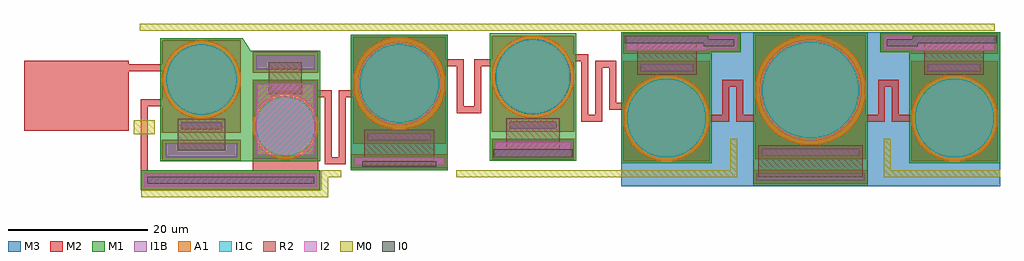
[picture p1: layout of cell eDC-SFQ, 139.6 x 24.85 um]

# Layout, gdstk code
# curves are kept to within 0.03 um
from math import pi, radians
import gdstk
lib = gdstk.Library(unit=1e-6, precision=1e-09)
def R(c, l, rs):  # rectangles x0, y0, x1, y1
    for r in rs: c.add(gdstk.rectangle(r[:2], r[2:], *l))
def P(c, l, *ps):  # polygons
    for p in ps: c.add(gdstk.Polygon(p, *l))
M1 = (1, 0)
I1B = (3, 0)
I1C = (4, 0)
A1 = (5, 0)
M2 = (6, 0)
I2 = (8, 0)
R2 = (9, 0)
M3 = (10, 0)
M0 = (30, 0)
I0 = (31, 0)

jj_5 = lib.new_cell('JJ$5')
R(jj_5, M1, [(-6.939,-12.452,6.939,6.939)])
R(jj_5, I1B, [(-6.39,-11.652,6.39,-10.652), (-4.5,-8.14,4.5,-7.14)])
P(jj_5, I1B, [(0,-5.924),(-1.156,-5.81),(-2.267,-5.473),(-3.291,-4.926),(-4.189,-4.189),(-4.926,-3.291),(-5.473,-2.267),(-5.81,-1.156),(-5.924,0),(-5.81,1.156),(-5.473,2.267),(-4.926,3.291),(-4.189,4.189),(-3.291,4.926),(-2.267,5.473),(-1.156,5.81),(0,5.924),(1.156,5.81),(2.267,5.473),(3.291,4.926),(4.189,4.189),(4.926,3.291),(5.473,2.267),(5.81,1.156),(5.924,0),(5.81,-1.156),(5.473,-2.267),(4.926,-3.291),(4.189,-4.189),(3.291,-4.926),(2.267,-5.473),(1.156,-5.81)])
P(jj_5, I1C, [(0,-5.642),(-1.101,-5.533),(-2.159,-5.212),(-3.134,-4.691),(-3.989,-3.989),(-4.691,-3.134),(-5.212,-2.159),(-5.533,-1.101),(-5.642,0),(-5.533,1.101),(-5.212,2.159),(-4.691,3.134),(-3.989,3.989),(-3.134,4.691),(-2.159,5.212),(-1.101,5.533),(0,5.642),(1.101,5.533),(2.159,5.212),(3.134,4.691),(3.989,3.989),(4.691,3.134),(5.212,2.159),(5.533,1.101),(5.642,0),(5.533,-1.101),(5.212,-2.159),(4.691,-3.134),(3.989,-3.989),(3.134,-4.691),(2.159,-5.212),(1.101,-5.533)])
P(jj_5, A1, [(0,-6.64),(-0.651,-6.608),(-1.295,-6.512),(-1.928,-6.354),(-2.541,-6.135),(-3.13,-5.856),(-3.689,-5.521),(-4.212,-5.133),(-4.695,-4.695),(-5.133,-4.212),(-5.521,-3.689),(-5.856,-3.13),(-6.135,-2.541),(-6.354,-1.927),(-6.512,-1.295),(-6.608,-0.651),(-6.64,0),(-6.608,0.651),(-6.512,1.295),(-6.354,1.928),(-6.135,2.541),(-5.856,3.13),(-5.521,3.689),(-5.133,4.212),(-4.695,4.695),(-4.212,5.133),(-3.689,5.521),(-3.13,5.856),(-2.541,6.135),(-1.927,6.354),(-1.295,6.512),(-0.651,6.608),(0,6.64),(0.651,6.608),(1.295,6.512),(1.927,6.354),(2.541,6.135),(3.13,5.856),(3.689,5.521),(4.212,5.133),(4.695,4.695),(5.133,4.212),(5.521,3.689),(5.856,3.13),(6.135,2.541),(6.354,1.927),(6.512,1.295),(6.608,0.651),(6.64,0),(6.608,-0.651),(6.512,-1.295),(6.354,-1.928),(6.135,-2.541),(5.856,-3.13),(5.521,-3.689),(5.133,-4.212),(4.695,-4.695),(4.212,-5.133),(3.689,-5.521),(3.13,-5.856),(2.541,-6.135),(1.927,-6.354),(1.295,-6.512),(0.651,-6.608)])
R(jj_5, M2, [(-6.89,-12.152,6.89,-10.152), (-6.639,-8.64,6.639,-6.639), (-6.639,-6.639,6.639,6.639)])
R(jj_5, I2, [(-6.39,-11.652,6.39,-10.652)])
R(jj_5, M3, [(-6.939,-12.452,6.939,6.939), (-6.89,-12.152,6.89,-10.152)])
R(jj_5, I0, [(-5.3,-11.952,5.3,-11.152)])
jj_5.add(gdstk.FlexPath([(0,-6.639),(0,-11.152)], 10, ends="flush", simple_path=True, layer=9, datatype=0))  # R2

c_jj = lib.new_cell('JJ')
R(c_jj, M1, [(-8.21,-13.722,8.21,8.21)])
R(c_jj, I1B, [(-7.66,-12.922,7.66,-11.922), (-7,-9.41,7,-8.41)])
P(c_jj, I1B, [(0,-7.255),(-0.711,-7.22),(-1.415,-7.116),(-2.106,-6.943),(-2.777,-6.703),(-3.42,-6.399),(-4.031,-6.033),(-4.603,-5.608),(-5.13,-5.13),(-5.608,-4.603),(-6.033,-4.031),(-6.399,-3.42),(-6.703,-2.776),(-6.943,-2.106),(-7.116,-1.415),(-7.22,-0.711),(-7.255,0),(-7.22,0.711),(-7.116,1.415),(-6.943,2.106),(-6.703,2.777),(-6.399,3.42),(-6.033,4.031),(-5.608,4.603),(-5.13,5.13),(-4.603,5.608),(-4.031,6.033),(-3.42,6.399),(-2.777,6.703),(-2.106,6.943),(-1.415,7.116),(-0.711,7.22),(0,7.255),(0.711,7.22),(1.415,7.116),(2.106,6.943),(2.777,6.703),(3.42,6.399),(4.031,6.033),(4.603,5.608),(5.13,5.13),(5.608,4.603),(6.033,4.031),(6.399,3.42),(6.703,2.777),(6.943,2.106),(7.116,1.415),(7.22,0.711),(7.255,0),(7.22,-0.711),(7.116,-1.415),(6.943,-2.106),(6.703,-2.777),(6.399,-3.42),(6.033,-4.031),(5.608,-4.603),(5.13,-5.13),(4.603,-5.609),(4.031,-6.033),(3.42,-6.399),(2.776,-6.703),(2.106,-6.943),(1.415,-7.116),(0.711,-7.22)])
P(c_jj, I1C, [(0,-6.91),(-0.677,-6.877),(-1.348,-6.777),(-2.006,-6.612),(-2.644,-6.384),(-3.257,-6.094),(-3.839,-5.745),(-4.384,-5.341),(-4.886,-4.886),(-5.341,-4.384),(-5.745,-3.839),(-6.094,-3.257),(-6.384,-2.644),(-6.612,-2.006),(-6.777,-1.348),(-6.877,-0.677),(-6.91,0),(-6.877,0.677),(-6.777,1.348),(-6.612,2.006),(-6.384,2.644),(-6.094,3.257),(-5.745,3.839),(-5.341,4.384),(-4.886,4.886),(-4.384,5.341),(-3.839,5.745),(-3.257,6.094),(-2.644,6.384),(-2.006,6.612),(-1.348,6.777),(-0.677,6.877),(0,6.91),(0.677,6.877),(1.348,6.777),(2.006,6.612),(2.644,6.384),(3.257,6.094),(3.839,5.745),(4.384,5.341),(4.886,4.886),(5.341,4.384),(5.745,3.839),(6.094,3.257),(6.384,2.644),(6.612,2.006),(6.777,1.348),(6.877,0.677),(6.91,0),(6.877,-0.677),(6.777,-1.348),(6.612,-2.006),(6.384,-2.644),(6.094,-3.257),(5.745,-3.839),(5.341,-4.384),(4.886,-4.886),(4.384,-5.341),(3.839,-5.745),(3.257,-6.094),(2.644,-6.384),(2.006,-6.612),(1.348,-6.777),(0.677,-6.877)])
P(c_jj, A1, [(0,-7.91),(-0.775,-7.872),(-1.543,-7.758),(-2.296,-7.569),(-3.027,-7.308),(-3.729,-6.976),(-4.395,-6.577),(-5.018,-6.114),(-5.593,-5.593),(-6.115,-5.018),(-6.577,-4.395),(-6.976,-3.729),(-7.308,-3.027),(-7.569,-2.296),(-7.758,-1.543),(-7.872,-0.775),(-7.91,0),(-7.872,0.775),(-7.758,1.543),(-7.569,2.296),(-7.308,3.027),(-6.976,3.729),(-6.577,4.395),(-6.115,5.018),(-5.593,5.593),(-5.018,6.115),(-4.395,6.577),(-3.729,6.976),(-3.027,7.308),(-2.296,7.569),(-1.543,7.758),(-0.775,7.872),(0,7.91),(0.775,7.872),(1.543,7.758),(2.296,7.569),(3.027,7.308),(3.729,6.976),(4.395,6.577),(5.018,6.115),(5.593,5.593),(6.115,5.018),(6.577,4.395),(6.976,3.729),(7.308,3.027),(7.569,2.296),(7.758,1.543),(7.872,0.775),(7.91,0),(7.872,-0.775),(7.758,-1.543),(7.569,-2.296),(7.308,-3.027),(6.976,-3.729),(6.577,-4.395),(6.114,-5.018),(5.593,-5.593),(5.018,-6.115),(4.395,-6.577),(3.729,-6.976),(3.027,-7.308),(2.296,-7.569),(1.543,-7.758),(0.775,-7.872)])
R(c_jj, M2, [(-8.16,-13.422,8.16,-11.422), (-7.91,-9.91,7.91,-7.91), (-7.91,-7.91,7.91,7.91)])
R(c_jj, M3, [(-8.21,-13.722,8.21,8.21)])
c_jj.add(gdstk.FlexPath([(0,-7.91),(0,-12.422)], 15, ends="flush", simple_path=True, layer=9, datatype=0))  # R2

ak_qc1p2j000 = lib.new_cell('ak_qc1p2j000')
P(ak_qc1p2j000, I1B, [(0,-5.6),(-0.585,-5.569),(-1.164,-5.478),(-2.188,-5.155),(-3.131,-4.643),(-3.96,-3.96),(-4.643,-3.131),(-5.155,-2.188),(-5.478,-1.164),(-5.569,-0.585),(-5.6,0),(-5.569,0.585),(-5.478,1.164),(-5.155,2.188),(-4.643,3.131),(-3.96,3.96),(-3.131,4.643),(-2.188,5.155),(-1.164,5.478),(-0.585,5.569),(0,5.6),(0.585,5.569),(1.164,5.478),(2.188,5.155),(3.131,4.643),(3.96,3.96),(4.643,3.131),(5.155,2.188),(5.478,1.164),(5.569,0.585),(5.6,0),(5.569,-0.585),(5.478,-1.164),(5.155,-2.188),(4.643,-3.131),(3.96,-3.96),(3.131,-4.643),(2.188,-5.155),(1.164,-5.478),(0.585,-5.569)])
P(ak_qc1p2j000, I1C, [(0,-5.642),(-1.077,-5.538),(-2.113,-5.231),(-3.073,-4.732),(-3.551,-4.385),(-3.989,-3.989),(-4.385,-3.551),(-4.732,-3.073),(-5.231,-2.113),(-5.538,-1.077),(-5.642,0),(-5.538,1.077),(-5.231,2.113),(-4.732,3.073),(-4.385,3.551),(-3.989,3.989),(-3.551,4.385),(-3.073,4.732),(-2.113,5.231),(-1.077,5.538),(0,5.642),(1.077,5.538),(2.113,5.231),(3.073,4.732),(3.551,4.385),(3.989,3.989),(4.385,3.551),(4.732,3.073),(5.231,2.113),(5.538,1.077),(5.642,0),(5.538,-1.077),(5.231,-2.113),(4.732,-3.073),(4.385,-3.551),(3.989,-3.989),(3.551,-4.385),(3.073,-4.732),(2.113,-5.231),(1.077,-5.538)])
P(ak_qc1p2j000, A1, [(0,-6.2),(-1.183,-6.086),(-2.323,-5.749),(-3.377,-5.2),(-3.902,-4.818),(-4.384,-4.384),(-4.818,-3.902),(-5.2,-3.377),(-5.749,-2.323),(-6.086,-1.183),(-6.2,0),(-6.086,1.183),(-5.749,2.323),(-5.2,3.377),(-4.818,3.902),(-4.384,4.384),(-3.902,4.818),(-3.377,5.2),(-2.323,5.749),(-1.183,6.086),(0,6.2),(1.183,6.086),(2.323,5.749),(3.377,5.2),(3.902,4.818),(4.384,4.384),(4.818,3.902),(5.2,3.377),(5.749,2.323),(6.086,1.183),(6.2,0),(6.086,-1.183),(5.749,-2.323),(5.2,-3.377),(4.818,-3.902),(4.384,-4.384),(3.902,-4.818),(3.377,-5.2),(2.323,-5.749),(1.183,-6.086)])

ak_qc10r24 = lib.new_cell('ak_qc10r24')
R(ak_qc10r24, I1B, [(-4.1,-5.5,4.2,-3.5), (-3.7,-1.5,3.8,-0.5)])
R(ak_qc10r24, M2, [(-4.6,-6,4.7,-3), (-4.6,-2,4.7,0)])
R(ak_qc10r24, R2, [(-4.2,-4.5,4.3,0)])

ak_qc1p2j000s = lib.new_cell('ak_qc1p2j000s')
R(ak_qc1p2j000s, M1, [(-6.5,-12.3,6.5,6.5)])
R(ak_qc1p2j000s, I1B, [(-5.7,-11.7,5.7,-9.7)])
R(ak_qc1p2j000s, M2, [(-6.2,-12.2,6.2,-9.2), (-6.2,-8.2,6.2,6.2)])
ak_qc1p2j000s.add(gdstk.Reference(ak_qc1p2j000, (0,0)))
ak_qc1p2j000s.add(gdstk.Reference(ak_qc10r24, (0,-6.2)))

ak_qc1p2j000sgd = lib.new_cell('ak_qc1p2j000sgd')
R(ak_qc1p2j000sgd, I2, [(-5.7,-11.7,5.7,-9.7)])
R(ak_qc1p2j000sgd, M3, [(-6.2,-12.2,6.2,-9.2)])
R(ak_qc1p2j000sgd, I0, [(-6,-11.8,6,-10.7)])
ak_qc1p2j000sgd.add(gdstk.Reference(ak_qc1p2j000s, (0,0)))

meanderinductor = lib.new_cell('MeanderInductor')
meanderinductor.add(gdstk.FlexPath([(-3.25,0),(-1,0),(-1,4.974),(1,4.974),(1,0),(3.25,0)], 1, ends="flush", simple_path=True, layer=6, datatype=0))  # M2

ejtl = lib.new_cell('eJTL')
R(ejtl, M3, [(-27.1,-10.75,27.1,11.3)])
ejtl.add(gdstk.FlexPath([(-15.5,9.8),(-10.7,9.8)], 1.4, ends="flush", simple_path=True, layer=3, datatype=0))  # I1B
ejtl.add(gdstk.FlexPath([(15.5,9.8),(10.7,9.8)], 1.4, ends="flush", simple_path=True, layer=3, datatype=0))  # I1B
ejtl.add(gdstk.FlexPath([(-16.2,9.8),(-10,9.8)], 2.8, ends="flush", simple_path=True, layer=6, datatype=0))  # M2
ejtl.add(gdstk.FlexPath([(16.2,9.8),(10,9.8)], 2.8, ends="flush", simple_path=True, layer=6, datatype=0))  # M2
ejtl.add(gdstk.FlexPath([(-16.2,9.8),(-10,9.8)], 2.8, ends="flush", simple_path=True, layer=1, datatype=0))  # M1
ejtl.add(gdstk.FlexPath([(16.2,9.8),(10,9.8)], 2.8, ends="flush", simple_path=True, layer=1, datatype=0))  # M1
ejtl.add(gdstk.FlexPath([(-15.7,9.9),(-9.5,9.9)], 2.8, ends="flush", simple_path=True, layer=10, datatype=0))  # M3
ejtl.add(gdstk.FlexPath([(15.7,9.9),(9.5,9.9)], 2.8, ends="flush", simple_path=True, layer=10, datatype=0))  # M3
ejtl.add(gdstk.FlexPath([(-15.3,9.8),(-10.9,9.8)], 1, ends="flush", simple_path=True, layer=31, datatype=0))  # I0
ejtl.add(gdstk.FlexPath([(15.3,9.8),(10.9,9.8)], 1, ends="flush", simple_path=True, layer=31, datatype=0))  # I0
ejtl.add(gdstk.FlexPath([(-15.7,9.8),(-10.5,9.8)], 1.8, ends="flush", simple_path=True, layer=8, datatype=0))  # I2
ejtl.add(gdstk.FlexPath([(15.7,9.8),(10.5,9.8)], 1.8, ends="flush", simple_path=True, layer=8, datatype=0))  # I2
ejtl.add(gdstk.FlexPath([(-11,-4),(-11,-9),(-27.1,-9)], 1, ends="flush", simple_path=True, layer=30, datatype=0))  # M0
ejtl.add(gdstk.FlexPath([(11,-4),(11,-9),(27.1,-9)], 1, ends="flush", simple_path=True, layer=30, datatype=0))  # M0
ejtl.add(gdstk.Reference(c_jj, (0,3)))
ejtl.add(gdstk.Reference(ak_qc1p2j000sgd, (-20.6,-1), x_reflection=True))
ejtl.add(gdstk.Reference(ak_qc1p2j000sgd, (20.6,-1), rotation=pi))
ejtl.add(gdstk.Reference(meanderinductor, (-11.15,-1)))
ejtl.add(gdstk.Reference(meanderinductor, (11.15,-1)))

meanderinductor_1 = lib.new_cell('MeanderInductor$1')
meanderinductor_1.add(gdstk.FlexPath([(-2.5,0),(-1,0),(-1,9.562),(1,9.562),(1,0),(2.5,0)], 1, ends="flush", simple_path=True, layer=6, datatype=0))  # M2

ak_qc1p0r265 = lib.new_cell('ak_qc1p0r265')
R(ak_qc1p0r265, I1B, [(-3.7,-5.5,3.7,-3.5), (-3.3,-1.5,3.3,-0.5)])
R(ak_qc1p0r265, M2, [(-4.2,-6,4.2,-3), (-4.2,-2,4.2,0)])
R(ak_qc1p0r265, R2, [(-3.8,-4.5,3.8,0)])

ak_qc1p1j800 = lib.new_cell('ak_qc1p1j800')
P(ak_qc1p1j800, I1B, [(0,-5.4),(-1.03,-5.301),(-2.11,-4.971),(-3.02,-4.477),(-3.818,-3.818),(-4.477,-3.02),(-4.971,-2.11),(-5.301,-1.03),(-5.4,0),(-5.301,1.03),(-4.971,2.11),(-4.477,3.02),(-3.818,3.818),(-3.02,4.477),(-2.11,4.971),(-1.03,5.301),(0,5.4),(1.03,5.301),(2.11,4.971),(3.02,4.477),(3.818,3.818),(4.477,3.02),(4.971,2.11),(5.301,1.03),(5.4,0),(5.301,-1.03),(4.971,-2.11),(4.477,-3.02),(3.818,-3.818),(3.02,-4.477),(2.11,-4.971),(1.03,-5.301)])
P(ak_qc1p1j800, I1C, [(-0.093,-5.352),(-1.204,-5.215),(-2.177,-4.89),(-3.07,-4.384),(-3.85,-3.718),(-4.489,-2.915),(-4.963,-2.005),(-5.254,-1.021),(-5.352,0.093),(-5.215,1.204),(-4.89,2.177),(-4.384,3.07),(-3.718,3.85),(-2.915,4.489),(-2.005,4.963),(-1.021,5.254),(0.093,5.352),(1.204,5.215),(2.177,4.89),(3.07,4.384),(3.85,3.718),(4.489,2.915),(4.963,2.005),(5.254,1.021),(5.352,-0.093),(5.215,-1.204),(4.89,-2.177),(4.384,-3.07),(3.718,-3.85),(2.915,-4.489),(2.005,-4.963),(1.021,-5.254)])
P(ak_qc1p1j800, A1, [(0,-5.9),(-1.126,-5.792),(-1.725,-5.642),(-2.305,-5.431),(-3.299,-4.891),(-4.172,-4.172),(-4.891,-3.299),(-5.431,-2.305),(-5.642,-1.725),(-5.792,-1.126),(-5.9,0),(-5.792,1.126),(-5.642,1.725),(-5.431,2.305),(-4.891,3.299),(-4.172,4.172),(-3.299,4.891),(-2.305,5.431),(-1.725,5.642),(-1.126,5.792),(0,5.9),(1.126,5.792),(1.725,5.642),(2.305,5.431),(3.299,4.891),(4.172,4.172),(4.891,3.299),(5.431,2.305),(5.642,1.725),(5.792,1.126),(5.9,0),(5.792,-1.126),(5.642,-1.725),(5.431,-2.305),(4.891,-3.299),(4.172,-4.172),(3.299,-4.891),(2.305,-5.431),(1.725,-5.642),(1.126,-5.792)])

ak_qc1p1j800s = lib.new_cell('ak_qc1p1j800s')
R(ak_qc1p1j800s, M1, [(-6.2,-12,6.2,6.2)])
R(ak_qc1p1j800s, I1B, [(-5.4,-11.4,5.4,-9.4)])
R(ak_qc1p1j800s, M2, [(-5.9,-11.9,5.9,-8.9), (-5.9,-7.9,5.9,5.9)])
ak_qc1p1j800s.add(gdstk.Reference(ak_qc1p0r265, (0,-5.9)))
ak_qc1p1j800s.add(gdstk.Reference(ak_qc1p1j800, (0,0)))

ak_qc1p1j800sgd = lib.new_cell('ak_qc1p1j800sgd')
R(ak_qc1p1j800sgd, I2, [(-5.4,-11.4,5.4,-9.4)])
R(ak_qc1p1j800sgd, M3, [(-5.9,-11.9,5.9,-8.9)])
R(ak_qc1p1j800sgd, I0, [(-5.7,-11.5,5.7,-10.4)])
ak_qc1p1j800sgd.add(gdstk.Reference(ak_qc1p1j800s, (0,0)))

ak_qc1p0r433 = lib.new_cell('ak_qc1p0r433')
R(ak_qc1p0r433, I1B, [(-2.2,-5.5,2.3,-3.5), (-1.8,-1.5,1.9,-0.5)])
R(ak_qc1p0r433, M2, [(-2.7,-6,2.8,-3), (-2.7,-2,2.8,0)])
R(ak_qc1p0r433, R2, [(-2.3,-4.5,2.4,0)])

ak_qc1p1j100 = lib.new_cell('ak_qc1p1j100')
P(ak_qc1p1j100, I1B, [(0,-4.2),(-0.801,-4.123),(-1.641,-3.866),(-2.349,-3.482),(-2.97,-2.97),(-3.482,-2.349),(-3.866,-1.641),(-4.123,-0.801),(-4.2,0),(-4.123,0.801),(-3.866,1.641),(-3.482,2.349),(-2.97,2.97),(-2.349,3.482),(-1.641,3.866),(-0.801,4.123),(0,4.2),(0.801,4.123),(1.641,3.866),(2.349,3.482),(2.97,2.97),(3.482,2.349),(3.866,1.641),(4.123,0.801),(4.2,0),(4.123,-0.801),(3.866,-1.641),(3.482,-2.349),(2.97,-2.97),(2.349,-3.482),(1.641,-3.866),(0.801,-4.123)])
P(ak_qc1p1j100, I1C, [(-0.073,-4.184),(-0.87,-4.093),(-1.635,-3.852),(-2.34,-3.469),(-3.01,-2.907),(-3.509,-2.279),(-3.906,-1.499),(-4.121,-0.727),(-4.184,0.073),(-4.093,0.87),(-3.852,1.635),(-3.469,2.34),(-2.907,3.01),(-2.279,3.509),(-1.499,3.906),(-0.727,4.121),(0.073,4.184),(0.87,4.093),(1.635,3.852),(2.34,3.469),(3.01,2.907),(3.509,2.279),(3.906,1.499),(4.121,0.727),(4.184,-0.073),(4.093,-0.87),(3.852,-1.635),(3.469,-2.34),(2.907,-3.01),(2.279,-3.509),(1.499,-3.906),(0.727,-4.121)])
P(ak_qc1p1j100, A1, [(0,-4.7),(-0.897,-4.614),(-1.761,-4.358),(-2.56,-3.942),(-3.265,-3.381),(-3.85,-2.696),(-4.294,-1.912),(-4.614,-0.897),(-4.7,0),(-4.614,0.897),(-4.358,1.761),(-3.942,2.56),(-3.381,3.265),(-2.696,3.85),(-1.912,4.294),(-0.897,4.614),(0,4.7),(0.897,4.614),(1.761,4.358),(2.56,3.942),(3.265,3.381),(3.85,2.696),(4.294,1.912),(4.614,0.897),(4.7,0),(4.614,-0.897),(4.358,-1.761),(3.942,-2.56),(3.381,-3.265),(2.696,-3.85),(1.912,-4.294),(0.897,-4.614)])

ak_qc1p1j100s = lib.new_cell('ak_qc1p1j100s')
R(ak_qc1p1j100s, M1, [(-5,-10.8,5,5)])
R(ak_qc1p1j100s, I1B, [(-4.2,-10.2,4.2,-8.2)])
R(ak_qc1p1j100s, M2, [(-4.7,-10.7,4.7,-7.7), (-4.7,-6.7,4.7,4.7)])
ak_qc1p1j100s.add(gdstk.Reference(ak_qc1p0r433, (0,-4.7)))
ak_qc1p1j100s.add(gdstk.Reference(ak_qc1p1j100, (0,0)))

ak_qc1p1j100sgu = lib.new_cell('ak_qc1p1j100sgu')
R(ak_qc1p1j100sgu, I2, [(-4.2,-6.2,4.2,4.2)])
R(ak_qc1p1j100sgu, M3, [(-4.7,-6.7,4.7,4.7)])
ak_qc1p1j100sgu.add(gdstk.Reference(ak_qc1p1j100s, (0,0)))

ak_qc1p0r298 = lib.new_cell('ak_qc1p0r298')
R(ak_qc1p0r298, I1B, [(-3.3,-5.5,3.3,-3.5), (-2.9,-1.5,2.9,-0.5)])
R(ak_qc1p0r298, M2, [(-3.8,-6,3.8,-3), (-3.8,-2,3.8,0)])
R(ak_qc1p0r298, R2, [(-3.4,-4.5,3.4,0)])

ak_qc1p1j600 = lib.new_cell('ak_qc1p1j600')
P(ak_qc1p1j600, I1B, [(0,-5),(-1.04,-4.891),(-1.954,-4.603),(-2.796,-4.145),(-3.536,-3.536),(-4.145,-2.796),(-4.603,-1.954),(-4.891,-1.04),(-5,0),(-4.891,1.04),(-4.603,1.954),(-4.145,2.796),(-3.536,3.536),(-2.796,4.145),(-1.954,4.603),(-1.04,4.891),(0,5),(1.04,4.891),(1.954,4.603),(2.796,4.145),(3.536,3.536),(4.145,2.796),(4.603,1.954),(4.891,1.04),(5,0),(4.891,-1.04),(4.603,-1.954),(4.145,-2.796),(3.536,-3.536),(2.796,-4.145),(1.954,-4.603),(1.04,-4.891)])
P(ak_qc1p1j600, I1C, [(0,-5.046),(-0.963,-4.954),(-1.89,-4.679),(-2.822,-4.184),(-3.568,-3.568),(-4.184,-2.822),(-4.679,-1.89),(-4.954,-0.963),(-5.046,0),(-4.954,0.963),(-4.679,1.89),(-4.184,2.822),(-3.568,3.568),(-2.822,4.184),(-1.89,4.679),(-0.963,4.954),(0,5.046),(0.963,4.954),(1.89,4.679),(2.822,4.184),(3.568,3.568),(4.184,2.822),(4.679,1.89),(4.954,0.963),(5.046,0),(4.954,-0.963),(4.679,-1.89),(4.184,-2.822),(3.568,-3.568),(2.822,-4.184),(1.89,-4.679),(0.963,-4.954)])
P(ak_qc1p1j600, A1, [(0,-5.6),(-0.585,-5.569),(-1.164,-5.478),(-2.188,-5.155),(-3.131,-4.643),(-3.96,-3.96),(-4.643,-3.131),(-5.155,-2.188),(-5.478,-1.164),(-5.569,-0.585),(-5.6,0),(-5.569,0.585),(-5.478,1.164),(-5.155,2.188),(-4.643,3.131),(-3.96,3.96),(-3.131,4.643),(-2.188,5.155),(-1.164,5.478),(-0.585,5.569),(0,5.6),(0.585,5.569),(1.164,5.478),(2.188,5.155),(3.131,4.643),(3.96,3.96),(4.643,3.131),(5.155,2.188),(5.478,1.164),(5.569,0.585),(5.6,0),(5.569,-0.585),(5.478,-1.164),(5.155,-2.188),(4.643,-3.131),(3.96,-3.96),(3.131,-4.643),(2.188,-5.155),(1.164,-5.478),(0.585,-5.569)])

ak_qc1p1j600s = lib.new_cell('ak_qc1p1j600s')
R(ak_qc1p1j600s, M1, [(-5.9,-11.7,5.9,5.9)])
R(ak_qc1p1j600s, I1B, [(-5.1,-11.1,5.1,-9.1)])
R(ak_qc1p1j600s, M2, [(-5.6,-11.6,5.6,-8.6), (-5.6,-7.6,5.6,5.6)])
ak_qc1p1j600s.add(gdstk.Reference(ak_qc1p0r298, (0,-5.6)))
ak_qc1p1j600s.add(gdstk.Reference(ak_qc1p1j600, (0,0)))

edc_sfq = lib.new_cell('eDC-SFQ')
P(edc_sfq, M1, [(-35.5,-7.2),(-35.5,10.4),(-34.4,8.6),(-34.4,-7.2)])
R(edc_sfq, M2, [(-34.1,-8.5,-24.7,-6.9), (-38.8,-6.8,-35.8,-5), (-66.8,-2.8,-51.8,7.2)])
R(edc_sfq, M0, [(-51.1,-3.3,-48.1,-1.3)])
edc_sfq.add(gdstk.FlexPath([(-49.4,-9.9),(-25.1,-9.9)], 1.4, ends="flush", simple_path=True, layer=3, datatype=0))  # I1B
edc_sfq.add(gdstk.FlexPath([(-6.5,6.9),(-4.4,6.9),(-4.4,0.2),(-1.9,0.2),(-1.9,6.9),(0.1,6.9)], 1, ends="flush", simple_path=True, layer=6, datatype=0))  # M2
edc_sfq.add(gdstk.FlexPath([(11.9,7.6),(13.4,7.6),(13.4,-1),(15.4,-1),(15.4,6.7),(17.4,6.7),(17.4,0.7),(18.9,0.7)], 1, ends="flush", simple_path=True, layer=6, datatype=0))  # M2
edc_sfq.add(gdstk.FlexPath([(-50.1,-9.9),(-24.4,-9.9)], 2.8, ends="flush", simple_path=True, layer=6, datatype=0))  # M2
edc_sfq.add(gdstk.FlexPath([(-51.8,6.2),(-47,6.2)], 1, ends="flush", simple_path=True, layer=6, datatype=0))  # M2
edc_sfq.add(gdstk.FlexPath([(-47,1.2),(-49.6,1.2),(-49.6,-8.5)], 1, ends="flush", simple_path=True, layer=6, datatype=0))  # M2
edc_sfq.add(gdstk.FlexPath([(-50.1,-9.9),(-24.4,-9.9)], 2.8, ends="flush", simple_path=True, layer=1, datatype=0))  # M1
edc_sfq.add(gdstk.FlexPath([(-49.2,-9.9),(-25.3,-9.9)], 1, ends="flush", simple_path=True, layer=31, datatype=0))  # I0
edc_sfq.add(gdstk.FlexPath([(-49.6,-9.9),(-24.9,-9.9)], 1.8, ends="flush", simple_path=True, layer=8, datatype=0))  # I2
edc_sfq.add(gdstk.FlexPath([(18.6,-9),(-4.95,-9)], 1, ends="flush", simple_path=True, layer=30, datatype=0))  # M0
edc_sfq.add(gdstk.FlexPath([(-21.45,-8.95),(-23.75,-8.95),(-23.75,-11.85),(-50.05,-11.85)], 1, ends="flush", simple_path=True, layer=30, datatype=0))  # M0
edc_sfq.add(gdstk.FlexPath([(72.05,12),(-50.25,12)], 1, ends="flush", simple_path=True, layer=30, datatype=0))  # M0
edc_sfq.add(gdstk.Reference(jj_5, (-13.1,3.95)))
edc_sfq.add(gdstk.Reference(ejtl, (45.7,0), rotation=pi, x_reflection=True))
edc_sfq.add(gdstk.Reference(meanderinductor_1, (-22.25,2.45), rotation=pi))
edc_sfq.add(gdstk.Reference(ak_qc1p1j800sgd, (6,4.9)))
edc_sfq.add(gdstk.Reference(ak_qc1p1j100sgu, (-29.4,-2.2), rotation=pi))
edc_sfq.add(gdstk.Reference(ak_qc1p1j600s, (-41.4,4.5)))

lib.write_gds('eDC-SFQ.gds')
